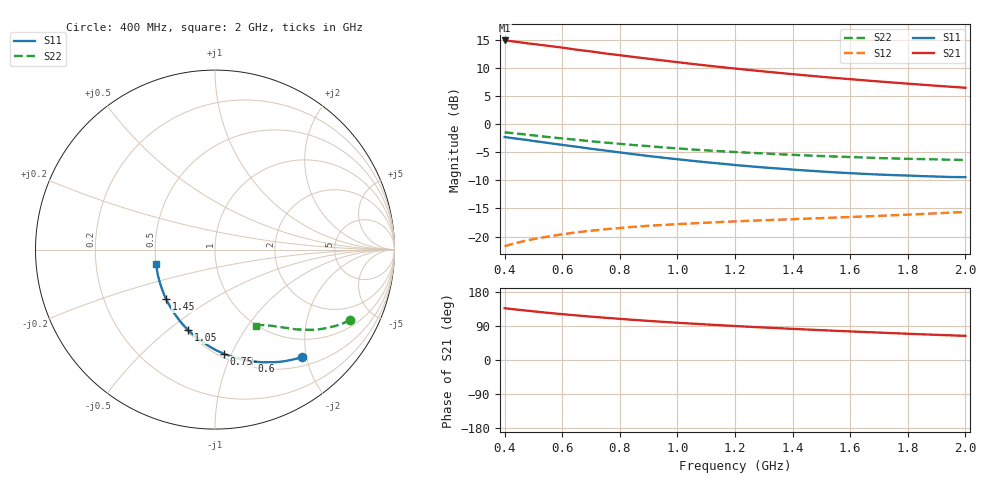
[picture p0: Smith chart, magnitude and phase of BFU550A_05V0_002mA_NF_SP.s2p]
! Filename:  P:\Prog\Test\Noise\ATS_data\Testdata_Net\06 Compressed Noise after Statistics\BFU550A_APG2013_35_C05_05p0V_002mA_NF_CM01_D.sf
! Date/Time: Tue 16/Apr/2013 15:11:35
! BFU550A_APG2013_35_C05_05p0V_1to35mA_NF_CM01_Bias2_R.sf
! Noise Parameter Data File
! BFU550A_APG2013_35_C05_05p0V_1to35mA_SP_CM01
! Date/time: Mon Apr 15 16:43:38 2013
! VAR V_out= 5.001000
! VAR I_out= 2.000000
! VAR V_in= 0.799200
! VAR I_in= 0.020800
! Device data file deembeded for feedlines and parallel
! Original file: \06 Compressed Noise after Statistics\BFU550A_APG2013_35_C05_05p0V_002mA_NF_CM01_R.sf
! Feed-files: PR017V01_150413_Feed1.s2p, PR017V01_150413_Feed2.s2p
! Parallel-file: PR017V01_150413_Par.s2p
# MHz S MA R 50
!  Freq-MHz  S11-mag  S11-arg  S21-mag  S21-arg  S12-mag  S12-arg  S22-mag  S22-arg
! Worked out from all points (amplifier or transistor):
!   37 points, 400 MHz to 2 GHz, reference 50 ohm
!   highest |S21| = 14.9 dB at 400 MHz (marker M1)
!   |S21| within 3 dB of that: start of sweep to 857.8 MHz
!   unconditionally stable (mu >= 1): nowhere
!   at 500 MHz: K = 0.34, MSG = 17.4 dB, |S12| = -20.5 dB
!   at 1.1 GHz: K = 0.68, MSG = 14.0 dB, |S12| = -17.5 dB
!   at 2 GHz: K = 0.99, MSG = 11.1 dB, |S12| = -15.6 dB
!   lowest NFmin = 0.48 dB at 420 MHz
!   S11 on the Smith chart (normalised r, x): 400 MHz: 0.65, -1.91; 600 MHz: 0.56, -1.22; 750 MHz: 0.53, -0.94; 1.05 GHz: 0.51, -0.59; 1.45 GHz: 0.50, -0.32; 2 GHz: 0.50, -0.09
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400  0.7697 -51.1  5.581 136.7  0.08209 61.7  0.848 -27.5
420  0.7578 -53.4  5.512 134.9  0.08489 60.6  0.8377 -28.6
440  0.7458 -55.6  5.432 133.2  0.08759 59.7  0.8277 -29.5
480  0.7235 -59.8  5.258 130.0  0.0925 57.9  0.8069 -31.3
500  0.7108 -61.9  5.19 128.4  0.09482 57.1  0.797 -32.2
550  0.682 -67.0  5.005 124.5  0.09991 55.1  0.7707 -34.2
600  0.6555 -71.8  4.82 121.0  0.1047 53.5  0.7482 -36.0
650  0.6308 -76.3  4.617 117.7  0.1091 52.0  0.7277 -37.6
700  0.6053 -80.8  4.454 114.4  0.1127 50.6  0.7064 -39.2
750  0.5837 -85.0  4.274 111.5  0.1162 49.5  0.6875 -40.5
850  0.5406 -93.3  3.974 105.8  0.1221 47.7  0.6525 -43.0
950  0.5043 -101.0  3.703 100.7  0.1268 46.4  0.6226 -45.3
1050  0.4733 -108.3  3.453 96.0  0.1309 45.7  0.5969 -47.1
1100  0.4591 -111.8  3.342 93.8  0.1328 45.4  0.5856 -48.0
1200  0.4336 -118.7  3.138 89.7  0.1364 45.0  0.5661 -49.7
1300  0.4126 -125.2  2.958 85.8  0.1396 45.0  0.5497 -51.3
1450  0.387 -134.8  2.721 80.4  0.1443 45.5  0.5275 -53.5
1500  0.3796 -138.1  2.65 78.7  0.146 45.7  0.5213 -54.3
1600  0.367 -143.9  2.522 75.5  0.1493 46.4  0.5107 -55.8
1750  0.3525 -152.7  2.352 70.8  0.1548 47.6  0.4966 -57.9
1850  0.3454 -158.3  2.252 67.8  0.1589 48.5  0.4898 -59.4
2000  0.3382 -166.4  2.115 63.7  0.1656 49.9  0.4807 -61.8
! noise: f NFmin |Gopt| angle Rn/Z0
400  0.5315  0.4931  21.28  0.199
460  0.5411  0.4699  27.62  0.1934
600  0.6319  0.4418  33.02  0.1957
800  0.6199  0.4388  52  0.1592
1000  0.6426  0.4259  65.26  0.1465
1200  0.7099  0.4212  77.19  0.1391
1400  0.7708  0.3908  91.55  0.1181
1600  0.7991  0.3729  109.7  0.0978
1800  0.7223  0.358  127.2  0.0808
2000  0.7968  0.3722  136  0.073
